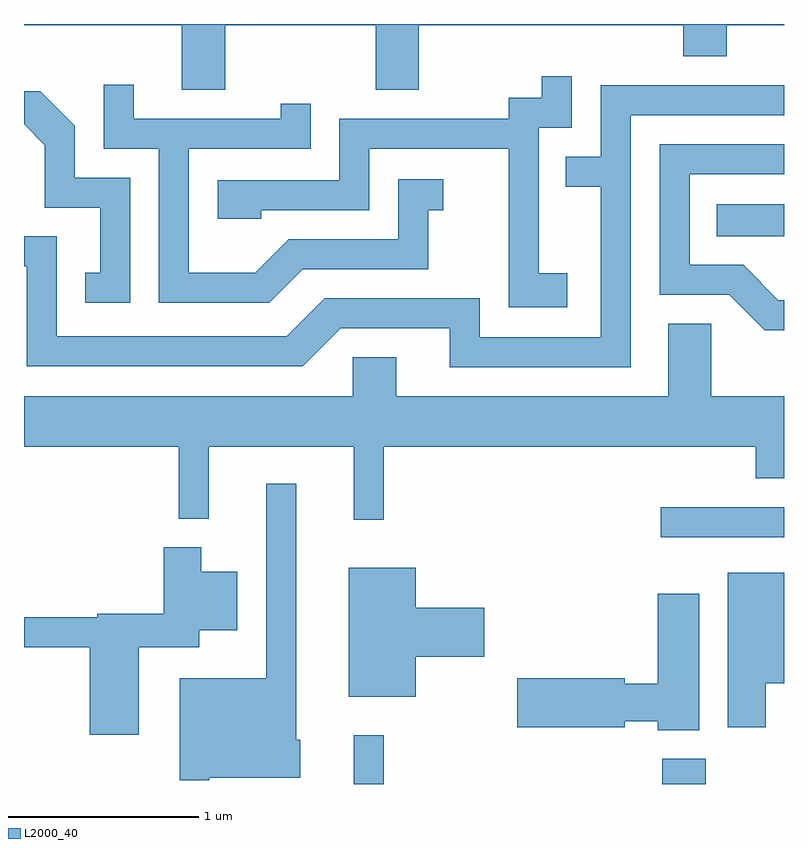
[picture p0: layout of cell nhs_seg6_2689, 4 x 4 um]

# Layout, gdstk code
import gdstk
lib = gdstk.Library(unit=1e-6, precision=1e-09)
def R(c, l, rs):  # rectangles x0, y0, x1, y1
    for r in rs: c.add(gdstk.rectangle(r[:2], r[2:], *l))
def P(c, l, *ps):  # polygons
    for p in ps: c.add(gdstk.Polygon(p, *l))
L2000_40 = (2000, 40)

nhs_seg6_2689 = lib.new_cell('nhs_seg6_2689')
R(nhs_seg6_2689, L2000_40, [(267.346,1648.162,267.504,1648.418), (268.971,1648.162,269.199,1648.294), (268.963,1649.461,269.611,1649.619), (269.258,1651.046,269.611,1651.214)])
P(nhs_seg6_2689, L2000_40, [(266.669,1652.156),(267.461,1652.156),(267.461,1651.816),(267.689,1651.816),(267.689,1652.156),(269.081,1652.156),(269.081,1651.991),(269.309,1651.991),(269.309,1652.156),(269.611,1652.156),(269.611,1652.162),(265.611,1652.162),(265.611,1652.156),(266.441,1652.156),(266.441,1651.816),(266.669,1651.816)],
  [(268.469,1650.849),(268.319,1650.849),(268.319,1651.616),(268.494,1651.616),(268.494,1651.888),(268.336,1651.888),(268.336,1651.774),(268.161,1651.774),(268.161,1651.664),(267.271,1651.664),(267.271,1651.339),(266.631,1651.339),(266.631,1651.136),(266.859,1651.136),(266.859,1651.181),(267.429,1651.181),(267.429,1651.506),(268.161,1651.506),(268.161,1650.671),(268.469,1650.671)],
  [(267.077,1650.871),(267.739,1650.871),(267.739,1651.181),(267.818,1651.181),(267.818,1651.344),(267.581,1651.344),(267.581,1651.029),(267.004,1651.029),(266.829,1650.854),(266.479,1650.854),(266.479,1651.506),(267.119,1651.506),(267.119,1651.743),(266.961,1651.743),(266.961,1651.664),(266.189,1651.664),(266.189,1651.843),(266.031,1651.843),(266.031,1651.506),(266.321,1651.506),(266.321,1650.696),(266.902,1650.696)],
  [(268.804,1651.681),(269.611,1651.681),(269.611,1651.839),(268.646,1651.839),(268.646,1651.464),(268.463,1651.464),(268.463,1651.306),(268.646,1651.306),(268.646,1650.514),(268.009,1650.514),(268.009,1650.719),(267.194,1650.719),(266.994,1650.519),(265.784,1650.519),(265.784,1651.044),(265.611,1651.044),(265.611,1650.886),(265.626,1650.886),(265.626,1650.361),(267.077,1650.361),(267.277,1650.561),(267.851,1650.561),(267.851,1650.356),(268.804,1650.356)],
  [(266.169,1651.354),(265.879,1651.354),(265.879,1651.627),(265.697,1651.809),(265.611,1651.809),(265.611,1651.634),(265.721,1651.524),(265.721,1651.196),(266.011,1651.196),(266.011,1650.854),(265.933,1650.854),(265.933,1650.696),(266.169,1650.696)],
  [(269.611,1650.709),(269.582,1650.709),(269.397,1650.894),(269.114,1650.894),(269.114,1651.371),(269.611,1651.371),(269.611,1651.529),(268.956,1651.529),(268.956,1650.736),(269.324,1650.736),(269.509,1650.551),(269.611,1650.551)],
  [(267.504,1649.936),(269.461,1649.936),(269.461,1649.771),(269.611,1649.771),(269.611,1650.204),(269.229,1650.204),(269.229,1650.584),(269.001,1650.584),(269.001,1650.204),(267.569,1650.204),(267.569,1650.409),(267.341,1650.409),(267.341,1650.204),(265.611,1650.204),(265.611,1649.936),(266.426,1649.936),(266.426,1649.558),(266.584,1649.558),(266.584,1649.936),(267.346,1649.936),(267.346,1649.553),(267.504,1649.553)],
  [(266.585,1648.196),(267.064,1648.196),(267.064,1648.394),(267.044,1648.394),(267.044,1649.743),(266.886,1649.743),(266.886,1648.719),(266.431,1648.719),(266.431,1648.181),(266.585,1648.181)],
  [(266.214,1648.881),(266.534,1648.881),(266.534,1648.971),(266.734,1648.971),(266.734,1649.279),(266.544,1649.279),(266.544,1649.409),(266.346,1649.409),(266.346,1649.059),(265.996,1649.059),(265.996,1649.039),(265.611,1649.039),(265.611,1648.881),(265.956,1648.881),(265.956,1648.421),(266.214,1648.421)],
  [(267.674,1648.831),(268.034,1648.831),(268.034,1649.089),(267.674,1649.089),(267.674,1649.299),(267.321,1649.299),(267.321,1648.621),(267.674,1648.621)],
  [(269.514,1648.691),(269.611,1648.691),(269.611,1649.274),(269.316,1649.274),(269.316,1648.461),(269.514,1648.461)],
  [(269.164,1649.164),(268.946,1649.164),(268.946,1648.689),(268.774,1648.689),(268.774,1648.719),(268.206,1648.719),(268.206,1648.461),(268.774,1648.461),(268.774,1648.491),(268.946,1648.491),(268.946,1648.446),(269.164,1648.446)])

lib.write_gds('nhs_seg6_2689.gds')
